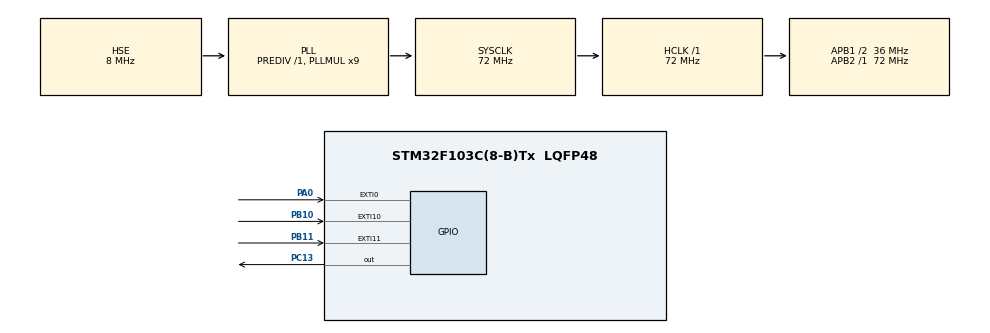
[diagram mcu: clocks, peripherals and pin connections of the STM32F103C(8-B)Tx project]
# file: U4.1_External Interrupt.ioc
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Mcu.Family=STM32F1
Mcu.Name=STM32F103C(8-B)Tx
Mcu.Package=LQFP48
NVIC.EXTI0_IRQn=true\:1\:0\:true\:false\:true\:true\:true
NVIC.EXTI15_10_IRQn=true\:1\:0\:true\:false\:true\:true\:true
NVIC.PriorityGroup=NVIC_PRIORITYGROUP_4
PA0-WKUP.Signal=GPXTI0
PA13.Mode=Serial_Wire
PA13.Signal=SYS_JTMS-SWDIO
PA14.Mode=Serial_Wire
PA14.Signal=SYS_JTCK-SWCLK
PB10.GPIO_ModeDefaultEXTI=GPIO_MODE_IT_FALLING
PB10.GPIO_PuPd=GPIO_PULLUP
PB10.Signal=GPXTI10
PB11.GPIO_ModeDefaultEXTI=GPIO_MODE_IT_FALLING
PB11.GPIO_PuPd=GPIO_PULLUP
PB11.Signal=GPXTI11
PC13-TAMPER-RTC.Signal=GPIO_Output
PD0-OSC_IN.Mode=HSE-External-Oscillator
PD0-OSC_IN.Signal=RCC_OSC_IN
PD1-OSC_OUT.Mode=HSE-External-Oscillator
PD1-OSC_OUT.Signal=RCC_OSC_OUT
ProjectManager.HeapSize=0x200
ProjectManager.StackSize=0x400
ProjectManager.TargetToolchain=STM32CubeIDE
RCC.AHBFreq_Value=72000000
RCC.APB1CLKDivider=RCC_HCLK_DIV2
RCC.APB1Freq_Value=36000000
RCC.APB1TimFreq_Value=72000000
RCC.APB2Freq_Value=72000000
RCC.APB2TimFreq_Value=72000000
RCC.HCLKFreq_Value=72000000
RCC.PLLMUL=RCC_PLL_MUL9
RCC.PLLSourceVirtual=RCC_PLLSOURCE_HSE
RCC.SYSCLKFreq_VALUE=72000000
RCC.SYSCLKSource=RCC_SYSCLKSOURCE_PLLCLK
RCC.USBFreq_Value=72000000
board=custom

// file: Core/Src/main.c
/* USER CODE BEGIN Header */
/**
  ******************************************************************************
  * @file           : main.c
  * @brief          : Main program body
  ******************************************************************************
  * @attention
  *
  * Copyright (c) 2022 STMicroelectronics.
  * All rights reserved.
  *
  * This software is licensed under terms that can be found in the LICENSE file
  * in the root directory of this software component.
  * If no LICENSE file comes with this software, it is provided AS-IS.
  *
  ******************************************************************************
  */
/* USER CODE END Header */
#include "main.h"

void SystemClock_Config(void);
static void MX_GPIO_Init(void);

/* USER CODE BEGIN 0 */

uint8_t count = 0;
void HAL_GPIO_EXTI_Callback(uint16_t GPIO_Pin){
	if(GPIO_Pin == GPIO_PIN_11){
		count ++;
	} else if(GPIO_Pin == GPIO_PIN_10 && count > 0){
		count --;
	}

//	HAL_GPIO_TogglePin(GPIOC, GPIO_PIN_13);
//	HAL_Delay(100);
//	HAL_GPIO_TogglePin(GPIOC, GPIO_PIN_13);
//	HAL_Delay(100);
}

uint32_t time_blink;
void led_handle(){
	if(count != 0){
		if(HAL_GetTick() - time_blink >= 1000 / (2 * count)){
			HAL_GPIO_TogglePin(GPIOC, GPIO_PIN_13);
			time_blink = HAL_GetTick();
		}
	} else{
		HAL_GPIO_WritePin(GPIOC, GPIO_PIN_13, GPIO_PIN_SET);
	}
}

/* USER CODE END 0 */

int main(void)
{

  /* MCU Configuration--------------------------------------------------------*/

  /* Reset of all peripherals, Initializes the Flash interface and the Systick. */
  HAL_Init();

  /* Configure the system clock */
  SystemClock_Config();

  /* Initialize all configured peripherals */
  MX_GPIO_Init();

  /* Infinite loop */
  while (1)
  {

    /* USER CODE BEGIN 3 */
	led_handle();
  }
  /* USER CODE END 3 */
}

void SystemClock_Config(void)
{
  RCC_OscInitTypeDef RCC_OscInitStruct = {0};
  RCC_ClkInitTypeDef RCC_ClkInitStruct = {0};

  /** Initializes the RCC Oscillators according to the specified parameters
  * in the RCC_OscInitTypeDef structure.
  */
  RCC_OscInitStruct.OscillatorType = RCC_OSCILLATORTYPE_HSE;
  RCC_OscInitStruct.HSEState = RCC_HSE_ON;
  RCC_OscInitStruct.HSEPredivValue = RCC_HSE_PREDIV_DIV1;
  RCC_OscInitStruct.HSIState = RCC_HSI_ON;
  RCC_OscInitStruct.PLL.PLLState = RCC_PLL_ON;
  RCC_OscInitStruct.PLL.PLLSource = RCC_PLLSOURCE_HSE;
  RCC_OscInitStruct.PLL.PLLMUL = RCC_PLL_MUL9;
  if (HAL_RCC_OscConfig(&RCC_OscInitStruct) != HAL_OK)
  {
    Error_Handler();
  }
  /** Initializes the CPU, AHB and APB buses clocks
  */
  RCC_ClkInitStruct.ClockType = RCC_CLOCKTYPE_HCLK|RCC_CLOCKTYPE_SYSCLK
                              |RCC_CLOCKTYPE_PCLK1|RCC_CLOCKTYPE_PCLK2;
  RCC_ClkInitStruct.SYSCLKSource = RCC_SYSCLKSOURCE_PLLCLK;
  RCC_ClkInitStruct.AHBCLKDivider = RCC_SYSCLK_DIV1;
  RCC_ClkInitStruct.APB1CLKDivider = RCC_HCLK_DIV2;
  RCC_ClkInitStruct.APB2CLKDivider = RCC_HCLK_DIV1;

  if (HAL_RCC_ClockConfig(&RCC_ClkInitStruct, FLASH_LATENCY_2) != HAL_OK)
  {
    Error_Handler();
  }
}

static void MX_GPIO_Init(void)
{
  GPIO_InitTypeDef GPIO_InitStruct = {0};

  /* GPIO Ports Clock Enable */
  __HAL_RCC_GPIOC_CLK_ENABLE();
  __HAL_RCC_GPIOD_CLK_ENABLE();
  __HAL_RCC_GPIOA_CLK_ENABLE();
  __HAL_RCC_GPIOB_CLK_ENABLE();

  /*Configure GPIO pin Output Level */
  HAL_GPIO_WritePin(GPIOC, GPIO_PIN_13, GPIO_PIN_RESET);

  /*Configure GPIO pin : PC13 */
  GPIO_InitStruct.Pin = GPIO_PIN_13;
  GPIO_InitStruct.Mode = GPIO_MODE_OUTPUT_PP;
  GPIO_InitStruct.Pull = GPIO_NOPULL;
  GPIO_InitStruct.Speed = GPIO_SPEED_FREQ_LOW;
  HAL_GPIO_Init(GPIOC, &GPIO_InitStruct);

  /*Configure GPIO pin : PA0 */
  GPIO_InitStruct.Pin = GPIO_PIN_0;
  GPIO_InitStruct.Mode = GPIO_MODE_IT_RISING;
  GPIO_InitStruct.Pull = GPIO_NOPULL;
  HAL_GPIO_Init(GPIOA, &GPIO_InitStruct);

  /*Configure GPIO pins : PB10 PB11 */
  GPIO_InitStruct.Pin = GPIO_PIN_10|GPIO_PIN_11;
  GPIO_InitStruct.Mode = GPIO_MODE_IT_FALLING;
  GPIO_InitStruct.Pull = GPIO_PULLUP;
  HAL_GPIO_Init(GPIOB, &GPIO_InitStruct);

  /* EXTI interrupt init*/
  HAL_NVIC_SetPriority(EXTI0_IRQn, 1, 0);
  HAL_NVIC_EnableIRQ(EXTI0_IRQn);

  HAL_NVIC_SetPriority(EXTI15_10_IRQn, 1, 0);
  HAL_NVIC_EnableIRQ(EXTI15_10_IRQn);

}

void Error_Handler(void)
{
  __disable_irq();
  while (1)
  {
  }
}
